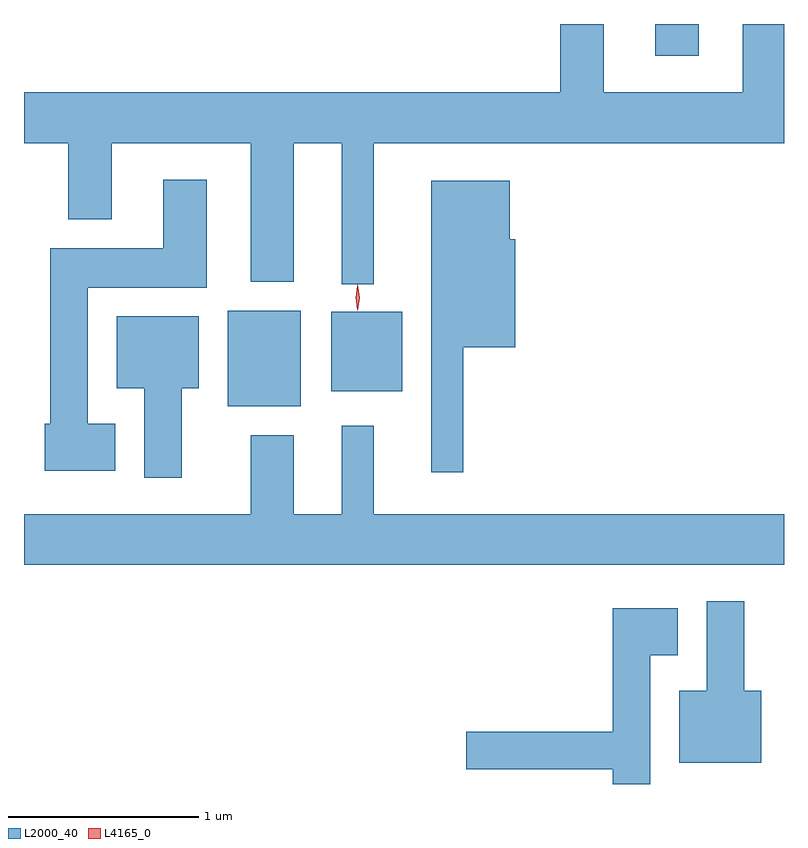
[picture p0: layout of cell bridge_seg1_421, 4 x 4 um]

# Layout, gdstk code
import gdstk
lib = gdstk.Library(unit=1e-6, precision=1e-09)
def R(c, l, rs):  # rectangles x0, y0, x1, y1
    for r in rs: c.add(gdstk.rectangle(r[:2], r[2:], *l))
def P(c, l, *ps):  # polygons
    for p in ps: c.add(gdstk.Polygon(p, *l))
L2000_40 = (2000, 40)
L4165_0 = (4165, 0)

bridge_seg1_421 = lib.new_cell('bridge_seg1_421')
R(bridge_seg1_421, L2000_40, [(407.891,882.651,408.274,883.154), (408.436,882.731,408.809,883.149), (410.141,884.496,410.369,884.663)])
P(bridge_seg1_421, L2000_40, [(408.659,884.036),(410.818,884.036),(410.818,884.663),(410.601,884.663),(410.601,884.304),(409.869,884.304),(409.869,884.663),(409.641,884.663),(409.641,884.304),(406.818,884.304),(406.818,884.036),(407.051,884.036),(407.051,883.636),(407.279,883.636),(407.279,884.036),(408.011,884.036),(408.011,883.306),(408.239,883.306),(408.239,884.036),(408.491,884.036),(408.491,883.293),(408.659,883.293)],
  [(407.299,882.559),(407.154,882.559),(407.154,883.276),(407.779,883.276),(407.779,883.844),(407.551,883.844),(407.551,883.484),(406.956,883.484),(406.956,882.559),(406.926,882.559),(406.926,882.311),(407.299,882.311)],
  [(409.129,882.961),(409.404,882.961),(409.404,883.529),(409.374,883.529),(409.374,883.839),(408.961,883.839),(408.961,882.303),(409.129,882.303)],
  [(407.649,882.746),(407.739,882.746),(407.739,883.124),(407.306,883.124),(407.306,882.746),(407.451,882.746),(407.451,882.276),(407.649,882.276)],
  [(410.818,882.084),(408.659,882.084),(408.659,882.548),(408.491,882.548),(408.491,882.084),(408.239,882.084),(408.239,882.499),(408.011,882.499),(408.011,882.084),(406.818,882.084),(406.818,881.816),(410.818,881.816)],
  [(410.699,881.154),(410.609,881.154),(410.609,881.624),(410.411,881.624),(410.411,881.154),(410.266,881.154),(410.266,880.776),(410.699,880.776)],
  [(410.114,881.341),(410.259,881.341),(410.259,881.589),(409.916,881.589),(409.916,880.939),(409.146,880.939),(409.146,880.741),(409.916,880.741),(409.916,880.663),(410.114,880.663)])
P(bridge_seg1_421, L4165_0, [(408.574,883.154),(408.574,883.154),(408.564,883.222),(408.574,883.29),(408.575,883.29),(408.575,883.29),(408.584,883.222),(408.574,883.154)],
  [(408.573,883.158),(408.572,883.159),(408.563,883.222),(408.572,883.286),(408.573,883.287),(408.573,883.286),(408.583,883.222),(408.573,883.159)])

lib.write_gds('bridge_seg1_421.gds')
